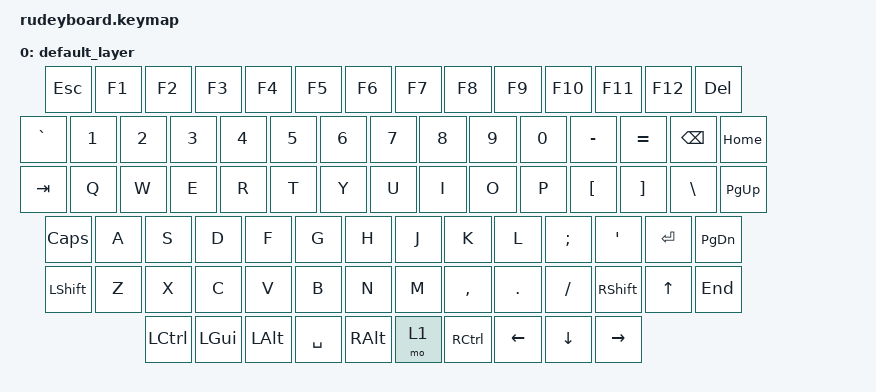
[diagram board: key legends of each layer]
#include <behaviors.dtsi>
#include <dt-bindings/zmk/keys.h>
#include <dt-bindings/zmk/bt.h>

#define DEFAULT 0

/ {
    keymap {
        compatible = "zmk,keymap";
        default_layer {
            // ----------------------------------------------------------------------------------------------------------------
            // | ESC |  1  |  2  |  3  |  4  |  5  |  6  |  7  |  8  |  9  |  0  |  -_ |  =+  |  Backspace  |  Delete  |
            // |   Tab  |  Q  |  W  |  E  |  R  |  T  |  Y  |  U  |  I  |  O  |  P  |  [{  |  ]}  |  Return |  Insert  |
            // |    Ctrl  |  A  |  S  |  D  |  F  |  G  |  H  |  J  |  K  |  L  |  ;:  |  @  |  ~# |        |
            // |  Shift | |\ |  Z  |  X  |  C  |  V  |  B  |  N  |  M  |  ,<  |  .>  |  /?  |   Shift   |   |    UP    |
            //         |  OS  |   ALT   |                 SPACE                 |    ALTGR    |  FN  |  LEFT |  DOWN  | RIGHT
            bindings = <
                &kp ESC &kp F1 &kp F2 &kp F3 &kp F4 &kp F5 &kp F6 &kp F7 &kp F8 &kp F9 &kp F10 &kp F11 &kp F12 &kp DEL
                &kp GRAVE &kp N1 &kp N2 &kp N3 &kp N4 &kp N5 &kp N6 &kp N7 &kp N8 &kp N9 &kp N0 &kp MINUS &kp EQUAL &kp BSPC &kp HOME
                &kp TAB &kp Q &kp W &kp E &kp R &kp T &kp Y &kp U &kp I &kp O &kp P &kp LBKT &kp RBKT &kp BACKSLASH &kp PAGE_UP
                &kp CAPSLOCK &kp A &kp S &kp D &kp F &kp G &kp H &kp J &kp K &kp L &kp SEMI &kp SQT &kp ENTER &kp PG_DN
                &kp LSHFT  &kp Z &kp X &kp C &kp V &kp B &kp N &kp M &kp COMMA &kp DOT &kp FSLH &kp RSHFT &kp UP &kp END
                &kp LCTRL &kp LGUI &kp LALT &kp SPACE &kp RALT &mo 1 &kp RCTRL &kp LEFT &kp DOWN &kp RIGHT
            >;
        };
    };
  };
